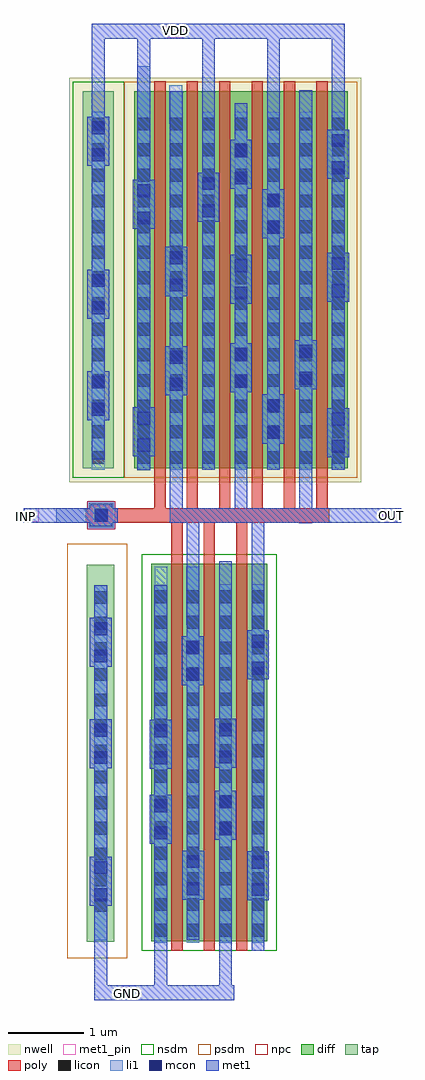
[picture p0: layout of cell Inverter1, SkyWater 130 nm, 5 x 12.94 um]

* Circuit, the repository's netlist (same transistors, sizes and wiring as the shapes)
************************************************************************
* auCdl Netlist:
* 
* Library Name:  InverterBasedTransceiver
* Top Cell Name: Inverter1
* View Name:     schematic
* Netlisted on:  Sep  6 14:53:26 2020
************************************************************************

.INCLUDE  $PDK_HOME/LVS/Calibre/source.cdl
*.EQUATION
*.SCALE METER
.PARAM



************************************************************************
* Library Name: InverterBasedTransceiver
* Cell Name:    Inverter1
* View Name:    schematic
************************************************************************

.SUBCKT Inverter1 GND INP OUT VDD
*.PININFO INP:I OUT:O GND:B VDD:B
mMN2 OUT INP GND GND nshort m=1 w=5.00 l=0.15 mult=1 sa=0.0 sb=0.0 sd=0.0 
+ topography=normal area=0.063 perim=1.14
mMN1 OUT INP GND GND nshort m=1 w=5.00 l=0.15 mult=1 sa=0.0 sb=0.0 sd=0.0 
+ topography=normal area=0.063 perim=1.14
mMN0 OUT INP GND GND nshort m=1 w=5.00 l=0.15 mult=1 sa=0.0 sb=0.0 sd=0.0 
+ topography=normal area=0.063 perim=1.14
mMP5 OUT INP VDD VDD pshort m=1 w=5.00 l=0.15 mult=1 sa=0.0 sb=0.0 sd=0.0 
+ topography=normal area=0.063 perim=1.14
mMP4 OUT INP VDD VDD pshort m=1 w=5.00 l=0.15 mult=1 sa=0.0 sb=0.0 sd=0.0 
+ topography=normal area=0.063 perim=1.14
mMP3 OUT INP VDD VDD pshort m=1 w=5.00 l=0.15 mult=1 sa=0.0 sb=0.0 sd=0.0 
+ topography=normal area=0.063 perim=1.14
mMP2 OUT INP VDD VDD pshort m=1 w=5.00 l=0.15 mult=1 sa=0.0 sb=0.0 sd=0.0 
+ topography=normal area=0.063 perim=1.14
mMP1 OUT INP VDD VDD pshort m=1 w=5.00 l=0.15 mult=1 sa=0.0 sb=0.0 sd=0.0 
+ topography=normal area=0.063 perim=1.14
mMP0 OUT INP VDD VDD pshort m=1 w=5.00 l=0.15 mult=1 sa=0.0 sb=0.0 sd=0.0 
+ topography=normal area=0.063 perim=1.14
.ENDS

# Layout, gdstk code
from math import pi, radians
import gdstk
lib = gdstk.Library(unit=1e-6, precision=1e-09)
def R(c, l, rs):  # rectangles x0, y0, x1, y1
    for r in rs: c.add(gdstk.rectangle(r[:2], r[2:], *l))
def A(c, l, x, y, w, h, nx, ny, dx, dy):  # array of equal rectangles
    R(c, l, [(x+i*dx, y+j*dy, x+i*dx+w, y+j*dy+h) for i in range(nx) for j in range(ny)])
nwell = (64, 20)
diff = (65, 20)
tap = (65, 44)
poly = (66, 20)
licon = (66, 44)
li1 = (67, 20)
mcon = (67, 44)
met1_pin = (68, 16)
met1 = (68, 20)
nsdm = (93, 44)
psdm = (94, 20)
npc = (95, 20)

dfl1sd_cdns_599788411152 = lib.new_cell('DFL1sd_CDNS_599788411152')
R(dfl1sd_cdns_599788411152, diff, [(0,0,0.265,5)])
A(dfl1sd_cdns_599788411152, licon, 0.055, 0.06, 0.17, 0.17, 1, 14, 0, 0.34)
R(dfl1sd_cdns_599788411152, li1, [(0.055,-0.02,0.225,4.73)])
R(dfl1sd_cdns_599788411152, nsdm, [(-0.125,-0.125,0.39,5.125)])

dfl1sd2_cdns_59978841115 = lib.new_cell('DFL1sd2_CDNS_599788411153')
R(dfl1sd2_cdns_59978841115, diff, [(0,0,0.28,5)])
A(dfl1sd2_cdns_59978841115, licon, 0.055, 0.06, 0.17, 0.17, 1, 14, 0, 0.34)
R(dfl1sd2_cdns_59978841115, li1, [(0.055,-0.02,0.225,4.73)])
R(dfl1sd2_cdns_59978841115, nsdm, [(-0.125,-0.125,0.405,5.125)])

nfet_symbolic_cdns_59978 = lib.new_cell('nfet_symbolic_CDNS_599788411151')
A(nfet_symbolic_cdns_59978, diff, 0, 0, 0.15, 5, 3, 1, 0.43, 0)
R(nfet_symbolic_cdns_59978, diff, [(-0.25,0,0,5), (1.01,0,1.26,5)])
A(nfet_symbolic_cdns_59978, poly, 0, -0.13, 0.15, 5.26, 3, 1, 0.43, 0)
A(nfet_symbolic_cdns_59978, poly, 0, -0.13, 0.15, 0.13, 3, 2, 0.43, 5.13)
A(nfet_symbolic_cdns_59978, li1, -0.225, -0.02, 0.17, 4.75, 4, 1, 0.43, 0)
R(nfet_symbolic_cdns_59978, nsdm, [(-0.25,-0.125,0.15,5.125), (0.18,-0.125,0.58,5.125), (0.61,-0.125,1.26,5.125)])
nfet_symbolic_cdns_59978.add(gdstk.Reference(dfl1sd_cdns_599788411152, (1.01,0)))
nfet_symbolic_cdns_59978.add(gdstk.Reference(dfl1sd_cdns_599788411152, (0,0), rotation=pi, x_reflection=True))
nfet_symbolic_cdns_59978.add(gdstk.Reference(dfl1sd2_cdns_59978841115, (0.58,0)))
nfet_symbolic_cdns_59978.add(gdstk.Reference(dfl1sd2_cdns_59978841115, (0.15,0)))
nfet_symbolic_cdns_59978.add(gdstk.Label('D', (1.15,2.355), layer=83, texttype=44))
nfet_symbolic_cdns_59978.add(gdstk.Label('S', (0.72,2.355), layer=83, texttype=44))
nfet_symbolic_cdns_59978.add(gdstk.Label('D', (0.29,2.355), layer=83, texttype=44))
nfet_symbolic_cdns_59978.add(gdstk.Label('S', (-0.14,2.355), layer=83, texttype=44))

nfet_cdns_599788411150 = lib.new_cell('nfet_CDNS_599788411150')
nfet_cdns_599788411150.add(gdstk.Reference(nfet_symbolic_cdns_59978, (0,0)))

dfl1sd_cdns_599788411156 = lib.new_cell('DFL1sd_CDNS_599788411156')
R(dfl1sd_cdns_599788411156, nwell, [(-0.18,-0.18,0.445,5.18)])
R(dfl1sd_cdns_599788411156, diff, [(0,0,0.265,5)])
A(dfl1sd_cdns_599788411156, licon, 0.055, 0.06, 0.17, 0.17, 1, 14, 0, 0.34)
R(dfl1sd_cdns_599788411156, li1, [(0.055,-0.02,0.225,4.73)])
R(dfl1sd_cdns_599788411156, psdm, [(-0.125,-0.125,0.39,5.125)])

c_dfl1sd2_cdns_59978841115 = lib.new_cell('DFL1sd2_CDNS_599788411157')
R(c_dfl1sd2_cdns_59978841115, nwell, [(-0.18,-0.18,0.46,5.18)])
R(c_dfl1sd2_cdns_59978841115, diff, [(0,0,0.28,5)])
A(c_dfl1sd2_cdns_59978841115, licon, 0.055, 0.06, 0.17, 0.17, 1, 14, 0, 0.34)
R(c_dfl1sd2_cdns_59978841115, li1, [(0.055,-0.02,0.225,4.73)])
R(c_dfl1sd2_cdns_59978841115, psdm, [(-0.125,-0.125,0.405,5.125)])

pfet_symbolic_cdns_59978 = lib.new_cell('pfet_symbolic_CDNS_599788411155')
R(pfet_symbolic_cdns_59978, nwell, [(-0.445,-0.18,2.745,5.18)])
A(pfet_symbolic_cdns_59978, diff, 0, 0, 0.15, 5, 6, 1, 0.43, 0)
R(pfet_symbolic_cdns_59978, diff, [(-0.25,0,0,5), (2.3,0,2.55,5)])
A(pfet_symbolic_cdns_59978, poly, 0, -0.13, 0.15, 5.26, 6, 1, 0.43, 0)
A(pfet_symbolic_cdns_59978, poly, 0, -0.13, 0.15, 0.13, 6, 2, 0.43, 5.13)
A(pfet_symbolic_cdns_59978, li1, -0.225, -0.02, 0.17, 4.75, 7, 1, 0.43, 0)
A(pfet_symbolic_cdns_59978, psdm, -0.25, -0.125, 0.4, 5.25, 5, 1, 0.43, 0)
R(pfet_symbolic_cdns_59978, psdm, [(1.9,-0.125,2.55,5.125)])
pfet_symbolic_cdns_59978.add(gdstk.Reference(dfl1sd_cdns_599788411156, (2.3,0)))
pfet_symbolic_cdns_59978.add(gdstk.Reference(dfl1sd_cdns_599788411156, (0,0), rotation=pi, x_reflection=True))
pfet_symbolic_cdns_59978.add(gdstk.Reference(c_dfl1sd2_cdns_59978841115, (1.87,0)))
pfet_symbolic_cdns_59978.add(gdstk.Reference(c_dfl1sd2_cdns_59978841115, (1.44,0)))
pfet_symbolic_cdns_59978.add(gdstk.Reference(c_dfl1sd2_cdns_59978841115, (1.01,0)))
pfet_symbolic_cdns_59978.add(gdstk.Reference(c_dfl1sd2_cdns_59978841115, (0.58,0)))
pfet_symbolic_cdns_59978.add(gdstk.Reference(c_dfl1sd2_cdns_59978841115, (0.15,0)))
pfet_symbolic_cdns_59978.add(gdstk.Label('S', (2.44,2.355), layer=83, texttype=44))
pfet_symbolic_cdns_59978.add(gdstk.Label('D', (2.01,2.355), layer=83, texttype=44))
pfet_symbolic_cdns_59978.add(gdstk.Label('S', (1.58,2.355), layer=83, texttype=44))
pfet_symbolic_cdns_59978.add(gdstk.Label('D', (1.15,2.355), layer=83, texttype=44))
pfet_symbolic_cdns_59978.add(gdstk.Label('S', (0.72,2.355), layer=83, texttype=44))
pfet_symbolic_cdns_59978.add(gdstk.Label('D', (0.29,2.355), layer=83, texttype=44))
pfet_symbolic_cdns_59978.add(gdstk.Label('S', (-0.14,2.355), layer=83, texttype=44))

pfet_cdns_599788411154 = lib.new_cell('pfet_CDNS_599788411154')
R(pfet_cdns_599788411154, nwell, [(-1.125,-0.18,-0.445,5.18)])
R(pfet_cdns_599788411154, tap, [(-0.945,0,-0.535,5)])
A(pfet_cdns_599788411154, licon, -0.825, 0.06, 0.17, 0.17, 1, 14, 0, 0.34)
R(pfet_cdns_599788411154, li1, [(-0.825,-0.02,-0.655,4.73)])
R(pfet_cdns_599788411154, nsdm, [(-1.08,-0.125,-0.4,5.125)])
R(pfet_cdns_599788411154, psdm, [(-0.4,-0.125,-0.39,5.125)])
pfet_cdns_599788411154.add(gdstk.Reference(pfet_symbolic_cdns_59978, (0,0)))

pyl1_c_cdns_599788411150 = lib.new_cell('PYL1_C_CDNS_599788411150')
R(pyl1_c_cdns_599788411150, poly, [(-0.165,-0.165,0.165,0.165)])
R(pyl1_c_cdns_599788411150, licon, [(-0.085,-0.085,0.085,0.085)])
R(pyl1_c_cdns_599788411150, li1, [(-0.165,-0.165,0.165,0.165)])
R(pyl1_c_cdns_599788411150, npc, [(-0.185,-0.185,0.185,0.185)])

l1m1_c_cdns_599788411151 = lib.new_cell('L1M1_C_CDNS_599788411151')
R(l1m1_c_cdns_599788411151, li1, [(-0.085,-0.085,0.085,0.085)])
R(l1m1_c_cdns_599788411151, mcon, [(-0.085,-0.085,0.085,0.085)])
R(l1m1_c_cdns_599788411151, met1, [(-0.145,-0.145,0.145,0.145)])

l1m1_c_cdns_599788411152 = lib.new_cell('L1M1_C_CDNS_599788411152')
R(l1m1_c_cdns_599788411152, li1, [(-0.085,-0.265,0.085,0.265)])
R(l1m1_c_cdns_599788411152, mcon, [(-0.085,-0.265,0.085,-0.095), (-0.085,0.095,0.085,0.265)])
R(l1m1_c_cdns_599788411152, met1, [(-0.145,-0.325,0.145,0.325)])

inverter1 = lib.new_cell('Inverter1')
R(inverter1, tap, [(2.355,1.175,2.72,6.175)])
A(inverter1, poly, 3.475, 6.315, 0.15, 0.61, 3, 1, 0.43, 0)
A(inverter1, poly, 3.68, 6.925, 0.15, 0.395, 5, 1, 0.43, 0)
R(inverter1, poly, [(2.34,6.73,5.57,6.925), (3.25,6.73,3.4,7.32), (3.68,6.73,3.83,7.32)])
A(inverter1, licon, 2.455, 1.575, 0.17, 0.17, 1, 13, 0, 0.34)
R(inverter1, li1, [(2.455,1.2,2.625,5.905), (3.255,5.38,3.425,6.145), (3.675,5.38,3.845,6.145), (3.68,5.915,3.85,6.145), (1.95,6.73,2.77,6.925), (3.025,12.015,3.195,12.78), (3.45,12.015,3.62,12.525)])
R(inverter1, met1_pin, [(2.82,0.42,2.985,0.58), (6.27,6.735,6.485,6.92), (1.525,6.745,1.72,6.92), (3.415,13.16,3.64,13.335)])
A(inverter1, met1, 3.885, 7.43, 0.17, 5.91, 3, 1, 0.86, 0)
R(inverter1, met1, [(2.455,0.405,2.625,5.905), (2.455,0.405,4.31,0.6), (3.25,0.405,3.425,5.905), (4.11,0.405,4.28,6.22), (4.54,1.055,4.71,6.925), (3.68,1.205,3.85,6.925), (5.175,6.725,5.345,12.46), (1.52,6.73,2.77,6.925), (3.455,6.73,3.625,12.45), (3.455,6.73,6.525,6.925), (4.315,6.73,4.485,12.29), (3.025,7.425,3.195,13.34), (2.425,7.57,2.595,13.34), (2.425,13.145,5.775,13.34)])
R(inverter1, psdm, [(2.1,0.96,2.89,6.455)])
inverter1.add(gdstk.Reference(nfet_cdns_599788411150, (3.475,1.185)))
inverter1.add(gdstk.Reference(pfet_cdns_599788411154, (3.25,7.45)))
inverter1.add(gdstk.Reference(pyl1_c_cdns_599788411150, (2.55,6.83)))
inverter1.add(gdstk.Reference(l1m1_c_cdns_599788411151, (2.55,6.83)))
inverter1.add(gdstk.Reference(l1m1_c_cdns_599788411152, (5.69,11.615)))
inverter1.add(gdstk.Reference(l1m1_c_cdns_599788411152, (5.69,7.925)))
inverter1.add(gdstk.Reference(l1m1_c_cdns_599788411152, (5.69,9.985)))
inverter1.add(gdstk.Reference(l1m1_c_cdns_599788411152, (5.26,8.825)))
inverter1.add(gdstk.Reference(l1m1_c_cdns_599788411152, (4.83,8.105)))
inverter1.add(gdstk.Reference(l1m1_c_cdns_599788411152, (4.83,10.825)))
inverter1.add(gdstk.Reference(l1m1_c_cdns_599788411152, (4.4,11.48)))
inverter1.add(gdstk.Reference(l1m1_c_cdns_599788411152, (4.4,8.785)))
inverter1.add(gdstk.Reference(l1m1_c_cdns_599788411152, (4.4,9.955)))
inverter1.add(gdstk.Reference(l1m1_c_cdns_599788411152, (4.625,2.05)))
inverter1.add(gdstk.Reference(l1m1_c_cdns_599788411152, (4.625,4.98)))
inverter1.add(gdstk.Reference(l1m1_c_cdns_599788411152, (4.195,3.805)))
inverter1.add(gdstk.Reference(l1m1_c_cdns_599788411152, (4.195,2.855)))
inverter1.add(gdstk.Reference(l1m1_c_cdns_599788411152, (3.76,4.9)))
inverter1.add(gdstk.Reference(l1m1_c_cdns_599788411152, (3.335,2.8)))
inverter1.add(gdstk.Reference(l1m1_c_cdns_599788411152, (3.335,3.795)))
inverter1.add(gdstk.Reference(l1m1_c_cdns_599788411152, (3.765,2.06)))
inverter1.add(gdstk.Reference(l1m1_c_cdns_599788411152, (3.54,8.745)))
inverter1.add(gdstk.Reference(l1m1_c_cdns_599788411152, (2.51,11.785)))
inverter1.add(gdstk.Reference(l1m1_c_cdns_599788411152, (2.51,9.76)))
inverter1.add(gdstk.Reference(l1m1_c_cdns_599788411152, (2.51,8.415)))
inverter1.add(gdstk.Reference(l1m1_c_cdns_599788411152, (3.97,11.045)))
inverter1.add(gdstk.Reference(l1m1_c_cdns_599788411152, (3.54,10.06)))
inverter1.add(gdstk.Reference(l1m1_c_cdns_599788411152, (3.11,7.935)))
inverter1.add(gdstk.Reference(l1m1_c_cdns_599788411152, (3.11,10.95)))
inverter1.add(gdstk.Reference(l1m1_c_cdns_599788411152, (2.54,1.98)))
inverter1.add(gdstk.Reference(l1m1_c_cdns_599788411152, (2.54,3.8)))
inverter1.add(gdstk.Reference(l1m1_c_cdns_599788411152, (2.54,5.145)))
inverter1.add(gdstk.Label('OUT', (6.395,6.82), layer=68, texttype=20))
inverter1.add(gdstk.Label('VDD', (3.53,13.255), layer=68, texttype=20))
inverter1.add(gdstk.Label('INP', (1.545,6.815), layer=68, texttype=20))
inverter1.add(gdstk.Label('GND', (2.895,0.485), layer=68, texttype=20))

lib.write_gds('Inverter1.gds')
